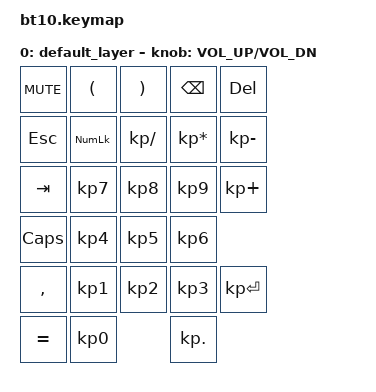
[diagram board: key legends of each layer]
#include <behaviors.dtsi>
#include <dt-bindings/zmk/keys.h>
#include <dt-bindings/zmk/bt.h>
#include <dt-bindings/zmk/rgb.h>
#include <dt-bindings/zmk/backlight.h>

/ {
	keymap {
		compatible = "zmk,keymap";

		default_layer {
			bindings = <
				&kp C_MUTE   &kp LPAR    &kp RPAR     &kp BSPC        &kp  DEL
				&kp ESC      &kp KP_NUM  &kp KP_SLASH &kp KP_ASTERISK &kp KP_MINUS 
				&kp TAB      &kp KP_N7   &kp KP_N8    &kp KP_N9       &kp KP_PLUS
				&kp CAPS     &kp KP_N4   &kp KP_N5    &kp KP_N6
				&kp COMMA &kp KP_N1   &kp KP_N2    &kp KP_N3       &kp KP_ENTER
				&kp EQUAL       &kp KP_N0          &kp KP_DOT
			>;
			sensor-bindings = <&inc_dec_kp C_VOL_UP C_VOL_DN>;
		};
	};
};
